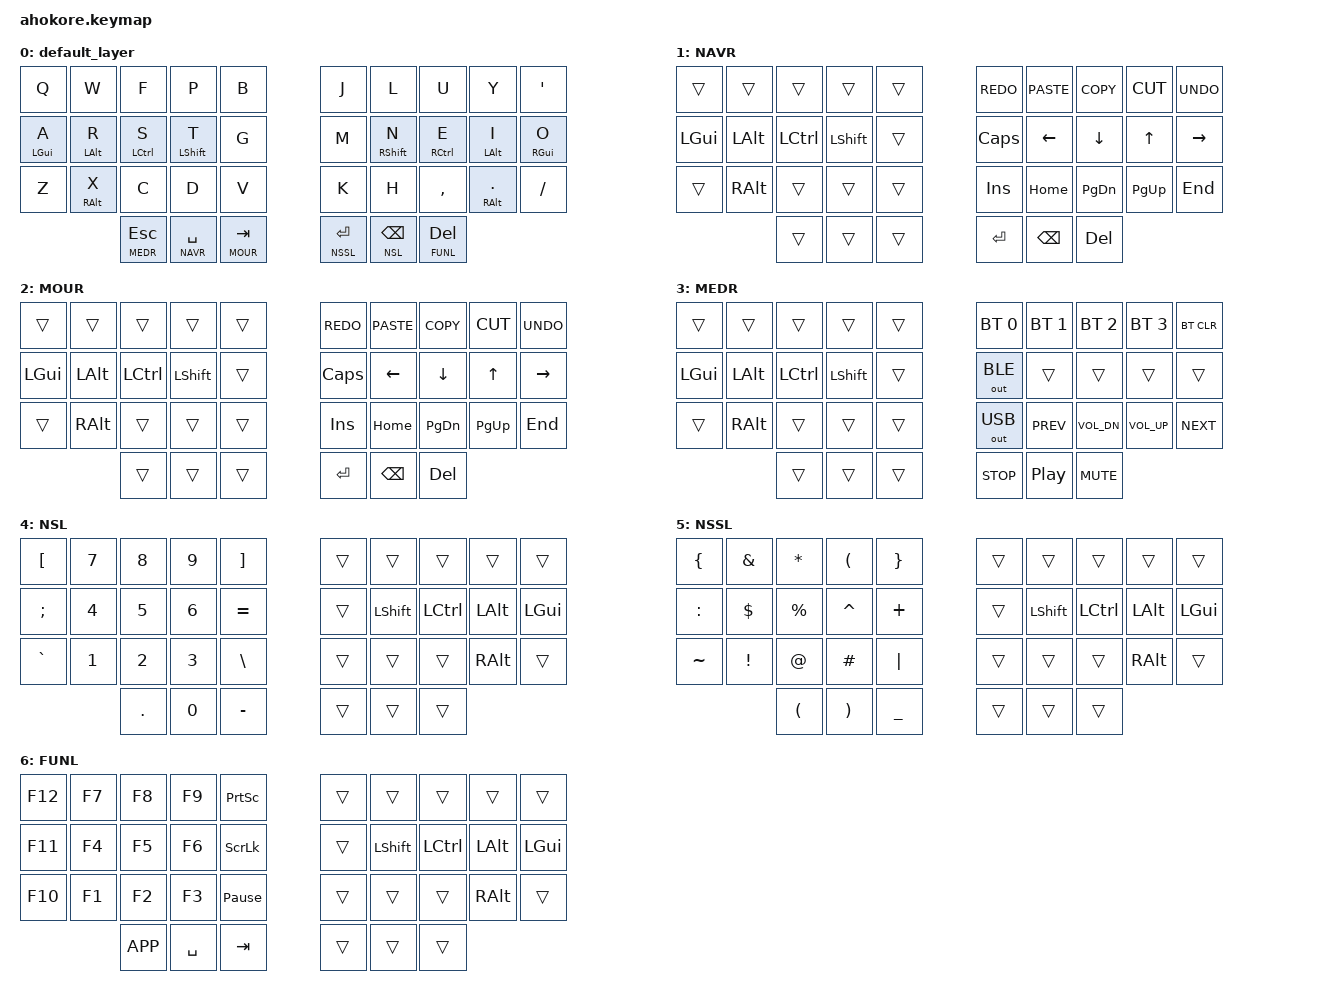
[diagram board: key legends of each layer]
/*
 * Copyright (c) 2020 The ZMK Contributors
 *
 * SPDX-License-Identifier: MIT
 */

#include <behaviors.dtsi>
#include <dt-bindings/zmk/keys.h>
#include <dt-bindings/zmk/bt.h>
#include <dt-bindings/zmk/outputs.h>

#define BASE 0
#define NAVR 1
#define MOUR 2
#define MEDR 3
#define NSL  4
#define NSSL 5
#define FUNL 6

/ {

behaviors {
    hm: homerow_mods {
        compatible = "zmk,behavior-hold-tap";
        label = "HOMEROW_MODS";
        #binding-cells = <2>;
        tapping_term_ms = <300>;
        quick-tap-ms = <200>;
        flavor = "tap-preferred";
        bindings = <&kp>, <&kp>;
    };
    tm: thumbs_mods {
        compatible = "zmk,behavior-hold-tap";
        label = "THUMBS_MODS";
        #binding-cells = <2>;
        tapping-term-ms = <200>;
        quick-tap-ms = <200>;
        flavor = "tap-preferred";
        bindings = <&mo>, <&kp>;
    };

    combos {
        compatible = "zmk,combos";
        combo_del {
            timeout-ms = <50>;
            key-positions = <18 19>;
            bindings = <&kp DEL>;
            layers = <1>;
        };
        combo_bspc {
            timeout-ms = <50>;
            key-positions = <8 9>;
            bindings = <&kp BKSP>;
            layers = <0 1>;
        };
        combo_tab {
            timeout-ms = <50>;
            key-positions = <0 1>;
            bindings = <&kp TAB>;
            layers = <0>;

        };
        combo_esc {
            timeout-ms = <50>;
            key-positions = <1 2>;
            bindings = <&kp ESC>;
            layers = <0>;

        };
    };

};
        keymap {
                compatible = "zmk,keymap";

                default_layer {

                        bindings = <

&kp Q      &kp W      &kp F       &kp P       &kp B    &kp J     &kp L        &kp U       &kp Y        &kp SQT
&hm LGUI A &hm LALT R &hm LCTRL S &hm LSHFT T &kp G    &kp M     &hm RSHFT N  &hm RCTRL E &hm LALT I   &hm RGUI O
&kp Z      &mt RALT X &kp C       &kp D       &kp V    &kp K     &kp H        &kp COMMA   &mt RALT DOT &kp FSLH
           &tm MEDR ESC &tm NAVR SPACE &tm MOUR TAB    &tm NSSL RET &tm NSL BSPC &tm FUNL DEL
                        >;
                };

                navr_layer {
                        label    = "NAVR";
                        bindings = <
   &trans   &trans   &trans    &trans    &trans          &kp K_REDO  &kp K_PASTE  &kp K_COPY  &kp K_CUT  &kp K_UNDO
   &kp LGUI &kp LALT &kp LCTRL &kp LSHFT &trans          &kp CAPS    &kp LEFT     &kp DOWN    &kp UP     &kp RIGHT
   &trans   &kp RALT &trans    &trans    &trans          &kp INS     &kp HOME     &kp PG_DN   &kp PG_UP  &kp END
                            &trans    &trans    &trans          &kp RET     &kp BSPC     &kp DEL
                        >;
                };
                mour_layer {
                        label    = "MOUR"; // apparently mouse is not supported... yet? for now this is a copy of NAVR
                        bindings = <
   &trans   &trans   &trans    &trans    &trans          &kp K_REDO  &kp K_PASTE  &kp K_COPY  &kp K_CUT  &kp K_UNDO
   &kp LGUI &kp LALT &kp LCTRL &kp LSHFT &trans          &kp CAPS    &kp LEFT     &kp DOWN    &kp UP     &kp RIGHT
   &trans   &kp RALT &trans    &trans    &trans          &kp INS     &kp HOME     &kp PG_DN   &kp PG_UP  &kp END
                            &trans    &trans    &trans          &kp RET     &kp BSPC     &kp DEL
                        >;
                };
                medr_layer {
                        label    = "MEDR";
                        bindings = <
   &trans   &trans   &trans    &trans    &trans          &bt BT_SEL 0  &bt BT_SEL 1     &bt BT_SEL 2  &bt BT_SEL 3  &bt BT_CLR
   &kp LGUI &kp LALT &kp LCTRL &kp LSHFT &trans          &out OUT_BLE  &trans           &trans        &trans        &trans
   &trans   &kp RALT &trans    &trans    &trans          &out OUT_USB  &kp C_PREV       &kp C_VOL_DN  &kp C_VOL_UP  &kp C_NEXT
                            &trans    &trans    &trans          &kp C_STOP    &kp C_PLAY_PAUSE &kp C_MUTE
                        >;
                };

                nsl_layer {
                        label    = "NSL";
                        bindings = <
   &kp LBKT  &kp N7 &kp N8 &kp N9 &kp RBKT               &trans  &trans    &trans    &trans   &trans
   &kp SEMI  &kp N4 &kp N5 &kp N6 &kp EQUAL              &trans  &kp LSHFT &kp LCTRL &kp LALT &kp LGUI
   &kp GRAVE &kp N1 &kp N2 &kp N3 &kp BSLH               &trans  &trans    &trans    &kp RALT &trans
                          &kp DOT &kp N0 &kp MINUS              &trans  &trans    &trans
                        >;
                };

                nssl_layer {
                        label    = "NSSL";
                        bindings = <
   &kp LBRC  &kp AMPS &kp STAR  &kp LPAR  &kp RBRC       &trans  &trans    &trans    &trans   &trans
   &kp COLON &kp DLLR &kp PRCNT &kp CARET &kp PLUS       &trans  &kp LSHFT &kp LCTRL &kp LALT &kp LGUI
   &kp TILDE &kp EXCL &kp AT    &kp HASH  &kp PIPE       &trans  &trans    &trans    &kp RALT &trans
                             &kp LPAR  &kp RPAR  &kp UNDER      &trans  &trans    &trans
                        >;
                };
                funl_layer {
                        label    = "FUNL";
                        bindings = <
   &kp F12 &kp F7 &kp F8  &kp F9 &kp PSCRN               &trans  &trans    &trans    &trans   &trans
   &kp F11 &kp F4 &kp F5  &kp F6 &kp SLCK                &trans  &kp LSHFT &kp LCTRL &kp LALT &kp LGUI
   &kp F10 &kp F1 &kp F2  &kp F3 &kp PAUSE_BREAK         &trans  &trans    &trans    &kp RALT &trans
                  &kp K_APP  &kp SPACE  &kp TAB                 &trans  &trans    &trans
                        >;
                };


        };
};
